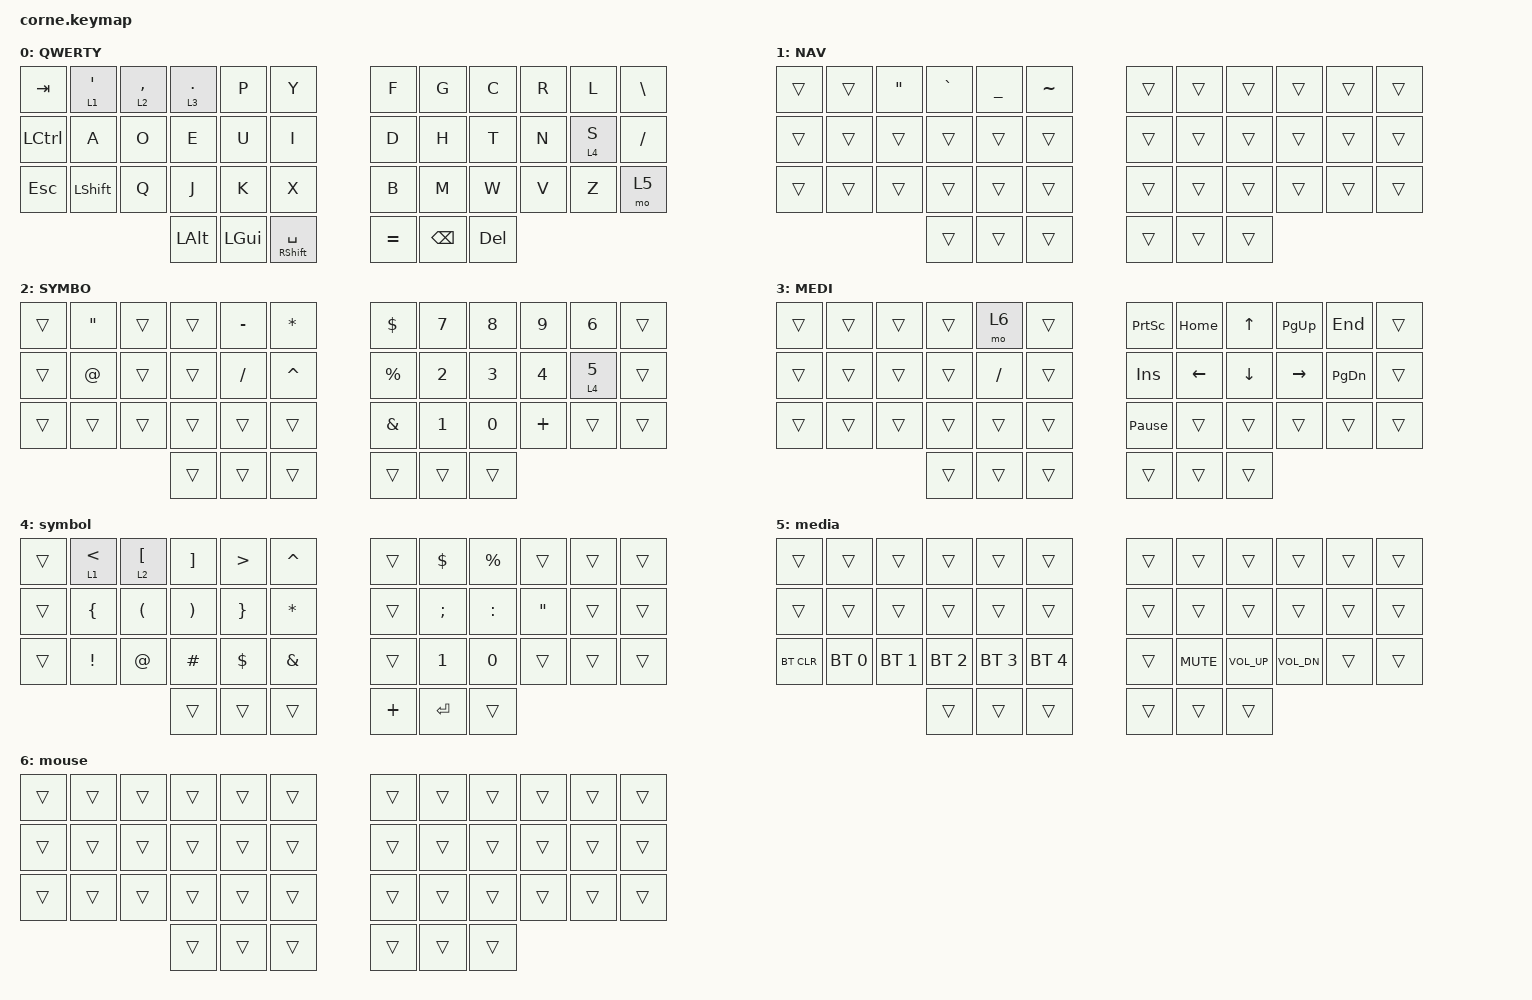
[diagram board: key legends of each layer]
/*
 * Copyright (c) 2020 The ZMK Contributors
 *
 * SPDX-License-Identifier: MIT
 */

#include <behaviors.dtsi>
#include <dt-bindings/zmk/keys.h>
#include <dt-bindings/zmk/bt.h>

/ {
    behaviors {
        hm: homerow_mods {
            compatible = "zmk,behavior-hold-tap";
            label = "HOMEROW_MODS";
            #binding-cells = <2>;
            tapping-term-ms = <150>;
            quick-tap-ms = <0>;
            flavor = "tap-preferred";
            bindings =
                <&kp>,
                <&kp>;
        };
    };

    combos {
        compatible = "zmk,combos";

        tab {
            bindings = <&trans>;
            key-positions = <2 3>;
        };

        ctrl {
            bindings = <&kp LCTRL>;
            key-positions = <26 27>;
        };

        cmd {
            bindings = <&kp LCMD>;
            key-positions = <37 38>;
        };

        alt {
            bindings = <&kp LEFT_ALT>;
            key-positions = <39 40>;
        };

        shift {
            bindings = <&kp LSHIFT>;
            key-positions = <8 9>;
        };

        caps_word {
            bindings = <&caps_word>;
            key-positions = <17 18>;
        };

        delete {
            bindings = <&kp DEL>;
            key-positions = <32 33>;
        };
    };

    macros {
        zed_em_kay: zed_em_kay {
            compatible = "zmk,behavior-macro";
            label = "ZM_zed_em_kay";
            #binding-cells = <0>;
            bindings =
                <&macro_press>,
                <&kp LSHFT>,
                <&macro_tap>,
                <&kp Z &kp M &kp K>,
                <&macro_release>,
                <&kp LSHFT>;
        };
    };

    keymap {
        compatible = "zmk,keymap";

        default {
            label = "QWERTY";
            bindings = <
   &kp TAB  &lt 1 SQT  &lt 2 COMMA  &lt 3 DOT     &kp P            &kp Y              &kp F     &kp G    &kp C   &kp R    &kp L   &kp BSLH
 &kp LCTRL      &kp A        &kp O      &kp E     &kp U            &kp I              &kp D     &kp H    &kp T   &kp N  &lt 4 S  &kp SLASH
   &kp ESC  &kp LSHFT        &kp Q      &kp J     &kp K            &kp X              &kp B     &kp M    &kp W   &kp V    &kp Z      &mo 5
                                     &kp LALT  &kp LGUI  &mt RSHFT SPACE          &kp EQUAL  &kp BSPC  &kp DEL
            >;
        };

        left {
            label = "NAV";
            bindings = <
 &trans  &trans  &kp DQT  &kp GRAVE  &kp UNDER  &kp TILDE          &trans  &trans  &trans  &trans  &trans  &trans
 &trans  &trans   &trans     &trans     &trans     &trans          &trans  &trans  &trans  &trans  &trans  &trans
 &trans  &trans   &trans     &trans     &trans     &trans          &trans  &trans  &trans  &trans  &trans  &trans
                             &trans     &trans     &trans          &trans  &trans  &trans
            >;
        };

        number {
            label = "SYMBO";
            bindings = <
 &trans  &kp DQT  &trans  &trans  &kp MINUS   &kp STAR           &kp DOLLAR  &kp N7  &kp N8    &kp N9    &kp N6  &trans
 &trans   &kp AT  &trans  &trans  &kp SLASH  &kp CARET          &kp PERCENT  &kp N2  &kp N3    &kp N4  &lt 4 N5  &trans
 &trans   &trans  &trans  &trans     &trans     &trans             &kp AMPS  &kp N1  &kp N0  &kp PLUS    &trans  &trans
                          &trans     &trans     &trans               &trans  &trans  &trans
            >;
        };

        navigation {
            label = "MEDI";
            bindings = <
 &trans  &trans  &trans  &trans      &mo 6  &trans          &kp PRINTSCREEN  &kp HOME    &kp UP  &kp PG_UP    &kp END  &trans
 &trans  &trans  &trans  &trans  &kp SLASH  &trans               &kp INSERT  &kp LEFT  &kp DOWN  &kp RIGHT  &kp PG_DN  &trans
 &trans  &trans  &trans  &trans     &trans  &trans          &kp PAUSE_BREAK    &trans    &trans     &trans     &trans  &trans
                         &trans     &trans  &trans                   &trans    &trans    &trans
            >;
        };

        symbol {
            bindings = <
 &trans  &lt 1 LT  &lt 2 LEFT_BRACKET   &kp RBKT    &kp GT      &kp CARET            &trans    &kp DOLLAR   &kp PERCENT   &trans  &trans  &trans
 &trans  &kp LBRC            &kp LPAR   &kp RPAR  &kp RBRC   &kp ASTERISK            &trans      &kp SEMI     &kp COLON  &kp DQT  &trans  &trans
 &trans  &kp EXCL              &kp AT  &kp POUND  &kp DLLR  &kp AMPERSAND            &trans  &kp NUMBER_1  &kp NUMBER_0   &trans  &trans  &trans
                                          &trans    &trans         &trans          &kp PLUS     &kp ENTER        &trans
            >;
        };

        media {
            bindings = <
     &trans        &trans        &trans        &trans        &trans        &trans          &trans      &trans        &trans        &trans  &trans  &trans
     &trans        &trans        &trans        &trans        &trans        &trans          &trans      &trans        &trans        &trans  &trans  &trans
 &bt BT_CLR  &bt BT_SEL 0  &bt BT_SEL 1  &bt BT_SEL 2  &bt BT_SEL 3  &bt BT_SEL 4          &trans  &kp K_MUTE  &kp C_VOL_UP  &kp C_VOL_DN  &trans  &trans
                                               &trans        &trans        &trans          &trans      &trans        &trans
            >;
        };

        mouse {
            bindings = <
 &trans  &trans  &trans  &trans  &trans  &trans          &trans  &trans  &trans  &trans  &trans  &trans
 &trans  &trans  &trans  &trans  &trans  &trans          &trans  &trans  &trans  &trans  &trans  &trans
 &trans  &trans  &trans  &trans  &trans  &trans          &trans  &trans  &trans  &trans  &trans  &trans
                         &trans  &trans  &trans          &trans  &trans  &trans
            >;
        };
    };
};
